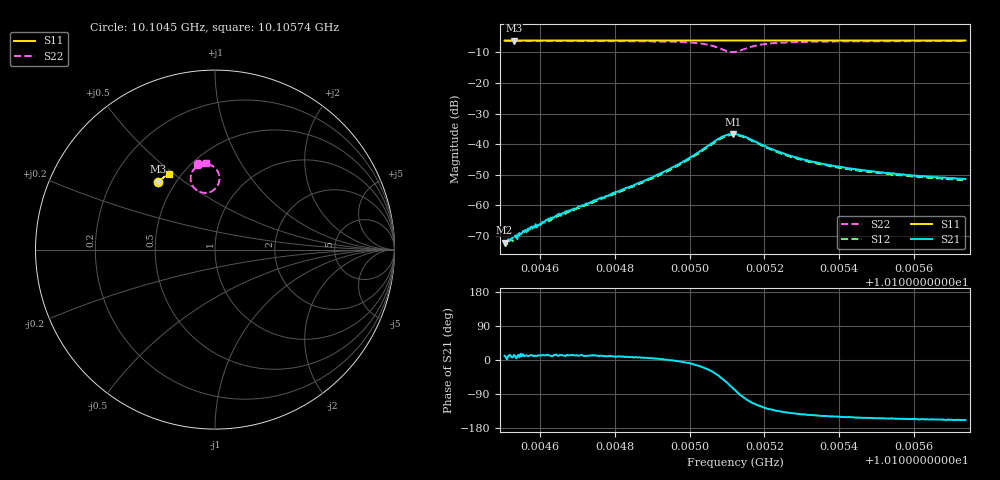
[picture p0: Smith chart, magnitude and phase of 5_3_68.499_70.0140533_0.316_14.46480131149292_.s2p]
#  HZ  S  RI  R  50.00
! Rohde & Schwarz Vector Network Analyzer
! Rohde-Schwarz,ZNB20-2Port,1311601062101988,3.16
! Created: UTC 3/20/2024, 4:48:47 PM
! freq[Hz]  re:S11  im:S11  re:S21  im:S21  re:S12  im:S12  re:S22  im:S22
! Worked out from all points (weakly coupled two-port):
!   401 points, 10.1045 GHz to 10.10574 GHz, reference 50 ohm
!   highest |S21| = -36.64 dB at 10.10512 GHz (marker M1); lowest = -72.2 dB at 10.1045 GHz (marker M2)
!   lowest |S11| = -6.1 dB at 10.10453 GHz (marker M3), VSWR 2.94, Z = 20.2 + j20.2 ohm
!   |S11| at or under -10 dB: nowhere
!   |S22| runs from -9.9 to -6.3 dB; largest |S21 - S12| = 0.0016
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1.0104505e10  -0.3164 0.3778  0.00024 4.65e-05  0.000219 7.91e-05  -0.0971 0.4754
1.010453e10  -0.3153 0.3787  0.000298 7.04e-05  0.000262 8.45e-05  -0.0949 0.4758
1.0104545e10  -0.3146 0.3794  0.000348 4.32e-05  0.000313 0.000103  -0.0935 0.4762
1.0104554e10  -0.3142 0.3798  0.000367 9.85e-05  0.000348 9.01e-05  -0.0927 0.4764
1.0104582e10  -0.3129 0.3809  0.000445 7.42e-05  0.00042 0.000138  -0.0898 0.477
1.0104597e10  -0.3123 0.3816  0.000466 0.0001  0.000453 0.000154  -0.0884 0.477
1.010461e10  -0.3116 0.3821  0.00051 0.000116  0.000513 0.000146  -0.0872 0.4772
1.0104647e10  -0.3099 0.3836  0.000686 0.000134  0.000639 0.000208  -0.0832 0.4777
1.0104711e10  -0.3069 0.386  0.000967 0.000232  0.000916 0.00028  -0.0758 0.4787
1.0104918e10  -0.2971 0.3941  0.00323 0.00017  0.00305 0.000457  -0.0375 0.4762
1.0105014e10  -0.2923 0.3978  0.00657 -0.00142  0.00637 -0.000738  0.00228 0.453
1.0105066e10  -0.2894 0.3995  0.00912 -0.00613  0.00929 -0.00493  0.0253 0.396
1.0105094e10  -0.2882 0.4002  0.00803 -0.0111  0.00858 -0.00983  0.00445 0.3423
1.0105115e10  -0.2874 0.4006  0.00412 -0.0141  0.00528 -0.0131  -0.0447 0.3166
1.0105121e10  -0.2872 0.401  0.00271 -0.0144  0.00398 -0.0135  -0.061 0.316
1.0105155e10  -0.2862 0.4021  -0.0035 -0.012  -0.0022 -0.012  -0.124 0.3544
1.0105202e10  -0.2842 0.4041  -0.00552 -0.00749  -0.0046 -0.00757  -0.1343 0.4121
1.0105263e10  -0.2813 0.4066  -0.00497 -0.00436  -0.00444 -0.00462  -0.1182 0.4468
1.0105328e10  -0.278 0.4092  -0.00426 -0.00292  -0.00386 -0.00319  -0.1028 0.4619
1.010542e10  -0.2735 0.4127  -0.00354 -0.00198  -0.00324 -0.00221  -0.0868 0.4716
1.0105534e10  -0.2679 0.4168  -0.00302 -0.00144  -0.00276 -0.00165  -0.0723 0.4776
1.0105738e10  -0.2574 0.4236  -0.0025 -0.000988  -0.00233 -0.00115  -0.0525 0.4828
